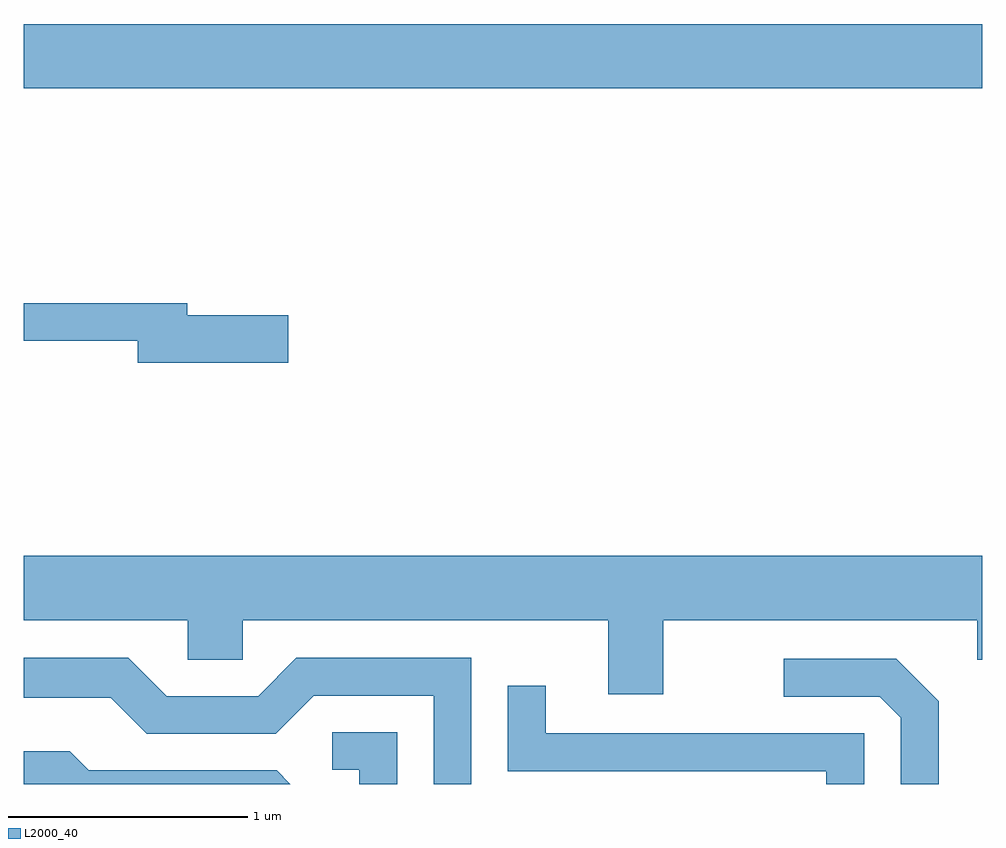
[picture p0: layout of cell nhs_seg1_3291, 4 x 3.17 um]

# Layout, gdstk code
import gdstk
lib = gdstk.Library(unit=1e-6, precision=1e-09)
def R(c, l, rs):  # rectangles x0, y0, x1, y1
    for r in rs: c.add(gdstk.rectangle(r[:2], r[2:], *l))
def P(c, l, *ps):  # polygons
    for p in ps: c.add(gdstk.Polygon(p, *l))
L2000_40 = (2000, 40)

nhs_seg1_3291 = lib.new_cell('nhs_seg1_3291')
R(nhs_seg1_3291, L2000_40, [(283.611,970.616,287.611,970.884)])
P(nhs_seg1_3291, L2000_40, [(284.714,969.669),(284.294,969.669),(284.294,969.719),(283.611,969.719),(283.611,969.561),(284.086,969.561),(284.086,969.471),(284.714,969.471)],
  [(286.279,968.396),(287.591,968.396),(287.591,968.231),(287.611,968.231),(287.611,968.664),(283.611,968.664),(283.611,968.396),(284.296,968.396),(284.296,968.231),(284.524,968.231),(284.524,968.396),(286.051,968.396),(286.051,968.086),(286.279,968.086)],
  [(285.479,968.239),(284.749,968.239),(284.589,968.079),(284.207,968.079),(284.047,968.239),(283.611,968.239),(283.611,968.071),(283.974,968.071),(284.124,967.921),(284.662,967.921),(284.822,968.081),(285.321,968.081),(285.321,967.712),(285.479,967.712)],
  [(287.429,968.057),(287.252,968.234),(286.783,968.234),(286.783,968.076),(287.184,968.076),(287.271,967.989),(287.271,967.712),(287.429,967.712)],
  [(287.119,967.924),(285.789,967.924),(285.789,968.123),(285.631,968.123),(285.631,967.766),(286.961,967.766),(286.961,967.712),(287.119,967.712)],
  [(285.169,967.929),(284.898,967.929),(284.898,967.771),(285.011,967.771),(285.011,967.712),(285.169,967.712)],
  [(284.667,967.769),(283.882,967.769),(283.802,967.849),(283.611,967.849),(283.611,967.712),(284.724,967.712)])

lib.write_gds('nhs_seg1_3291.gds')
